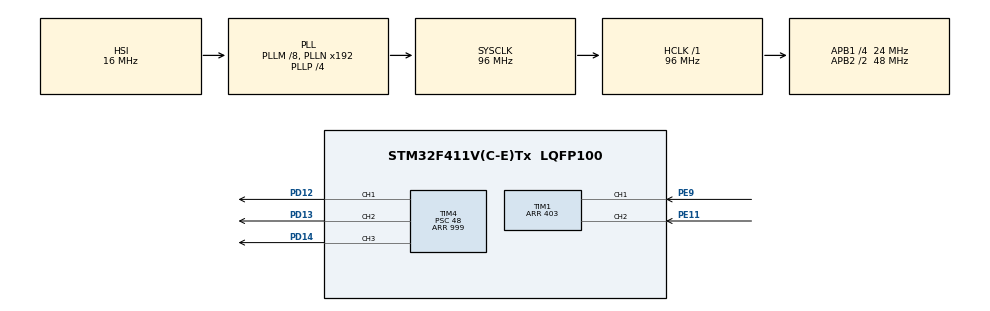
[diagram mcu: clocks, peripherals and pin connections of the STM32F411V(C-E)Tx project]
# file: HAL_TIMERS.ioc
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Mcu.Family=STM32F4
Mcu.Name=STM32F411V(C-E)Tx
Mcu.Package=LQFP100
NVIC.PriorityGroup=NVIC_PRIORITYGROUP_0
NVIC.TIM4_IRQn=true\:0\:0\:false\:false\:true\:true\:true\:true
PD12.Signal=S_TIM4_CH1
PD13.Signal=S_TIM4_CH2
PD14.Signal=S_TIM4_CH3
PD15.Signal=S_TIM4_CH4
PE11.Signal=S_TIM1_CH2
PE9.Signal=S_TIM1_CH1
ProjectManager.HeapSize=0x200
ProjectManager.StackSize=0x400
ProjectManager.TargetToolchain=STM32CubeIDE
RCC.48MHZClocksFreq_Value=48000000
RCC.AHBFreq_Value=96000000
RCC.APB1CLKDivider=RCC_HCLK_DIV4
RCC.APB1Freq_Value=24000000
RCC.APB1TimFreq_Value=48000000
RCC.APB2CLKDivider=RCC_HCLK_DIV2
RCC.APB2Freq_Value=48000000
RCC.APB2TimFreq_Value=96000000
RCC.CortexFreq_Value=96000000
RCC.HCLKFreq_Value=96000000
RCC.HSE_VALUE=8000000
RCC.HSI_VALUE=16000000
RCC.LSE_VALUE=32768
RCC.PLLI2SM=5
RCC.PLLI2SN=200
RCC.PLLM=8
RCC.PLLP=RCC_PLLP_DIV4
RCC.PLLQ=8
RCC.SYSCLKFreq_VALUE=96000000
RCC.SYSCLKSource=RCC_SYSCLKSOURCE_PLLCLK
RCC.VCOOutputFreq_Value=384000000
SH.S_TIM1_CH1.0=TIM1_CH1,Encoder_Interface
SH.S_TIM1_CH2.0=TIM1_CH2,Encoder_Interface
SH.S_TIM4_CH1.0=TIM4_CH1,PWM Generation1 CH1
SH.S_TIM4_CH2.0=TIM4_CH2,PWM Generation2 CH2
SH.S_TIM4_CH3.0=TIM4_CH3,PWM Generation3 CH3
SH.S_TIM4_CH4.0=TIM4_CH4
TIM1.AutoReloadPreload=TIM_AUTORELOAD_PRELOAD_ENABLE
TIM1.EncoderMode=TIM_ENCODERMODE_TI12
TIM1.IC1Filter=15
TIM1.IC2Filter=15
TIM1.Period=403
TIM4.AutoReloadPreload=TIM_AUTORELOAD_PRELOAD_ENABLE
TIM4.Channel-PWM\ Generation1\ CH1=TIM_CHANNEL_1
TIM4.Channel-PWM\ Generation2\ CH2=TIM_CHANNEL_2
TIM4.Channel-PWM\ Generation3\ CH3=TIM_CHANNEL_3
TIM4.OCFastMode_PWM-PWM\ Generation1\ CH1=TIM_OCFAST_ENABLE
TIM4.Period=999
TIM4.Prescaler=48
TIM4.Pulse-PWM\ Generation1\ CH1=0
VP_TIM4_VS_ClockSourceINT.Mode=Internal
board=STM32F411E-DISCO

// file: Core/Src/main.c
/* USER CODE BEGIN Header */
/**
  ******************************************************************************
  * @file           : main.c
  * @brief          : Main program body
  ******************************************************************************
  * @attention
  *
  * Copyright (c) 2022 STMicroelectronics.
  * All rights reserved.
  *
  * This software is licensed under terms that can be found in the LICENSE file
  * in the root directory of this software component.
  * If no LICENSE file comes with this software, it is provided AS-IS.
  *
  ******************************************************************************
  */
/* USER CODE END Header */
#include "main.h"

 TIM_HandleTypeDef htim1;
TIM_HandleTypeDef htim4;

/* USER CODE BEGIN PV */
 uint8_t speed=2;

    static uint8_t InterruptPrescaler = 0; // licznik przerwan
 	static uint8_t CzyRosnie = 1; // Flaga kierunku zliczania
 	volatile uint16_t pulse_count=1; // Licznik impulsow
 	volatile uint16_t positions=1; // Licznik przekreconych pozycji
/* USER CODE END PV */

void SystemClock_Config(void);
static void MX_GPIO_Init(void);
static void MX_TIM4_Init(void);
static void MX_TIM1_Init(void);
/* USER CODE BEGIN PFP */
void HAL_SYSTICK_Callback(void);
/* USER CODE END PFP */

int main(void)
{

  /* MCU Configuration--------------------------------------------------------*/

  /* Reset of all peripherals, Initializes the Flash interface and the Systick. */
  HAL_Init();

  /* Configure the system clock */
  SystemClock_Config();

  /* Initialize all configured peripherals */
  MX_GPIO_Init();
  MX_TIM4_Init();
  MX_TIM1_Init();
  /* USER CODE BEGIN 2 */

  HAL_TIM_PWM_Start(&htim4, TIM_CHANNEL_1);
  HAL_TIM_PWM_Start(&htim4, TIM_CHANNEL_2);
  HAL_TIM_PWM_Start(&htim4, TIM_CHANNEL_3);
  HAL_TIM_PWM_Start(&htim4, TIM_CHANNEL_4);

  HAL_TIM_Encoder_Start(&htim1, TIM_CHANNEL_ALL);

  __HAL_TIM_SET_COMPARE(&htim4,TIM_CHANNEL_1,100);
  __HAL_TIM_SET_COMPARE(&htim4,TIM_CHANNEL_2,400);
  __HAL_TIM_SET_COMPARE(&htim4,TIM_CHANNEL_3,700);
  __HAL_TIM_SET_COMPARE(&htim4,TIM_CHANNEL_4,900);
  /* USER CODE END 2 */

  /* Infinite loop */
  while (1)
  {

    /* USER CODE BEGIN 3 */
	    pulse_count =  TIM1->CNT ; // przepisanie wartosci z rejestru timera
	  	positions = (pulse_count/4)*80; // zeskalowanie impulsow do liczby stabilnych pozycji walu enkodera
	  	if(positions>1000) TIM1->CNT = 0;

	    __HAL_TIM_SET_COMPARE(&htim4,TIM_CHANNEL_1,positions);
	    __HAL_TIM_SET_COMPARE(&htim4,TIM_CHANNEL_2,positions);
	    __HAL_TIM_SET_COMPARE(&htim4,TIM_CHANNEL_3,positions);
	    __HAL_TIM_SET_COMPARE(&htim4,TIM_CHANNEL_4,positions);
//	  	++InterruptPrescaler; // Inkrementacja numeru przerwania
//
//	  	// Jezeli wywolalo sie 40 przerwanie z rzedu
//	  	if (InterruptPrescaler == 40) {
//	  		InterruptPrescaler = 0; // wyzeruj licznik przerwan
//
//	  		if (Duty == 100) // Jezeli wypelnienie jest rowne 100
//	  			CzyRosnie = 0; // Zmien kierunek zliczania w dol
//
//	  		else if (Duty == 0) // Jezeli wypelnienie rowne 0
//	  			CzyRosnie = 1; // Zmien kierunek zliczania w gore
//
//	  		if (CzyRosnie) // Jezeli zliczamy w gore
//	  			++Duty; // Inkrementuj wartosc wypelnienia
//	  		else//Jezeli zliczamy w dol
//	  			--Duty; // Dekrementuj wartosc wypelnienia
//	  	}
//	  	TIM4->CCR3 = Duty;
//		for(uint16_t i =0;i<900;i+=speed)
//			{
//			 __HAL_TIM_SET_COMPARE(&htim4,TIM_CHANNEL_1,i);
//			 HAL_Delay(1);
//
//			}
//		for(uint16_t j =0;j<900;j+=speed)
//				{
//				 __HAL_TIM_SET_COMPARE(&htim4,TIM_CHANNEL_2,j);
//				 HAL_Delay(1);
//	 			}
//		for(uint16_t k =0;k<900;k+=speed)
//				{
//				 __HAL_TIM_SET_COMPARE(&htim4,TIM_CHANNEL_3,k);
//				 HAL_Delay(1);
//
//				}
//		for(uint16_t l =0;l<900;l+=speed)
//				{
//				 __HAL_TIM_SET_COMPARE(&htim4,TIM_CHANNEL_4,l);
//				 HAL_Delay(1);
//
//				}
  }
  /* USER CODE END 3 */
}

void SystemClock_Config(void)
{
  RCC_OscInitTypeDef RCC_OscInitStruct = {0};
  RCC_ClkInitTypeDef RCC_ClkInitStruct = {0};

  /** Configure the main internal regulator output voltage
  */
  __HAL_RCC_PWR_CLK_ENABLE();
  __HAL_PWR_VOLTAGESCALING_CONFIG(PWR_REGULATOR_VOLTAGE_SCALE1);

  /** Initializes the RCC Oscillators according to the specified parameters
  * in the RCC_OscInitTypeDef structure.
  */
  RCC_OscInitStruct.OscillatorType = RCC_OSCILLATORTYPE_HSI;
  RCC_OscInitStruct.HSIState = RCC_HSI_ON;
  RCC_OscInitStruct.HSICalibrationValue = RCC_HSICALIBRATION_DEFAULT;
  RCC_OscInitStruct.PLL.PLLState = RCC_PLL_ON;
  RCC_OscInitStruct.PLL.PLLSource = RCC_PLLSOURCE_HSI;
  RCC_OscInitStruct.PLL.PLLM = 8;
  RCC_OscInitStruct.PLL.PLLN = 192;
  RCC_OscInitStruct.PLL.PLLP = RCC_PLLP_DIV4;
  RCC_OscInitStruct.PLL.PLLQ = 8;
  if (HAL_RCC_OscConfig(&RCC_OscInitStruct) != HAL_OK)
  {
    Error_Handler();
  }

  /** Initializes the CPU, AHB and APB buses clocks
  */
  RCC_ClkInitStruct.ClockType = RCC_CLOCKTYPE_HCLK|RCC_CLOCKTYPE_SYSCLK
                              |RCC_CLOCKTYPE_PCLK1|RCC_CLOCKTYPE_PCLK2;
  RCC_ClkInitStruct.SYSCLKSource = RCC_SYSCLKSOURCE_PLLCLK;
  RCC_ClkInitStruct.AHBCLKDivider = RCC_SYSCLK_DIV1;
  RCC_ClkInitStruct.APB1CLKDivider = RCC_HCLK_DIV4;
  RCC_ClkInitStruct.APB2CLKDivider = RCC_HCLK_DIV2;

  if (HAL_RCC_ClockConfig(&RCC_ClkInitStruct, FLASH_LATENCY_3) != HAL_OK)
  {
    Error_Handler();
  }
}

static void MX_TIM1_Init(void)
{

  TIM_Encoder_InitTypeDef sConfig = {0};
  TIM_MasterConfigTypeDef sMasterConfig = {0};

  htim1.Instance = TIM1;
  htim1.Init.Prescaler = 2;
  htim1.Init.CounterMode = TIM_COUNTERMODE_UP;
  htim1.Init.Period = 403;
  htim1.Init.ClockDivision = TIM_CLOCKDIVISION_DIV1;
  htim1.Init.RepetitionCounter = 0;
  htim1.Init.AutoReloadPreload = TIM_AUTORELOAD_PRELOAD_ENABLE;
  sConfig.EncoderMode = TIM_ENCODERMODE_TI12;
  sConfig.IC1Polarity = TIM_ICPOLARITY_RISING;
  sConfig.IC1Selection = TIM_ICSELECTION_DIRECTTI;
  sConfig.IC1Prescaler = TIM_ICPSC_DIV1;
  sConfig.IC1Filter = 15;
  sConfig.IC2Polarity = TIM_ICPOLARITY_RISING;
  sConfig.IC2Selection = TIM_ICSELECTION_DIRECTTI;
  sConfig.IC2Prescaler = TIM_ICPSC_DIV1;
  sConfig.IC2Filter = 15;
  if (HAL_TIM_Encoder_Init(&htim1, &sConfig) != HAL_OK)
  {
    Error_Handler();
  }
  sMasterConfig.MasterOutputTrigger = TIM_TRGO_RESET;
  sMasterConfig.MasterSlaveMode = TIM_MASTERSLAVEMODE_DISABLE;
  if (HAL_TIMEx_MasterConfigSynchronization(&htim1, &sMasterConfig) != HAL_OK)
  {
    Error_Handler();
  }

}

static void MX_TIM4_Init(void)
{

  TIM_ClockConfigTypeDef sClockSourceConfig = {0};
  TIM_MasterConfigTypeDef sMasterConfig = {0};
  TIM_OC_InitTypeDef sConfigOC = {0};

  htim4.Instance = TIM4;
  htim4.Init.Prescaler = 48;
  htim4.Init.CounterMode = TIM_COUNTERMODE_UP;
  htim4.Init.Period = 999;
  htim4.Init.ClockDivision = TIM_CLOCKDIVISION_DIV1;
  htim4.Init.AutoReloadPreload = TIM_AUTORELOAD_PRELOAD_ENABLE;
  if (HAL_TIM_Base_Init(&htim4) != HAL_OK)
  {
    Error_Handler();
  }
  sClockSourceConfig.ClockSource = TIM_CLOCKSOURCE_INTERNAL;
  if (HAL_TIM_ConfigClockSource(&htim4, &sClockSourceConfig) != HAL_OK)
  {
    Error_Handler();
  }
  if (HAL_TIM_PWM_Init(&htim4) != HAL_OK)
  {
    Error_Handler();
  }
  sMasterConfig.MasterOutputTrigger = TIM_TRGO_RESET;
  sMasterConfig.MasterSlaveMode = TIM_MASTERSLAVEMODE_DISABLE;
  if (HAL_TIMEx_MasterConfigSynchronization(&htim4, &sMasterConfig) != HAL_OK)
  {
    Error_Handler();
  }
  sConfigOC.OCMode = TIM_OCMODE_PWM1;
  sConfigOC.Pulse = 0;
  sConfigOC.OCPolarity = TIM_OCPOLARITY_HIGH;
  sConfigOC.OCFastMode = TIM_OCFAST_ENABLE;
  if (HAL_TIM_PWM_ConfigChannel(&htim4, &sConfigOC, TIM_CHANNEL_1) != HAL_OK)
  {
    Error_Handler();
  }
  sConfigOC.OCFastMode = TIM_OCFAST_DISABLE;
  if (HAL_TIM_PWM_ConfigChannel(&htim4, &sConfigOC, TIM_CHANNEL_2) != HAL_OK)
  {
    Error_Handler();
  }
  if (HAL_TIM_PWM_ConfigChannel(&htim4, &sConfigOC, TIM_CHANNEL_3) != HAL_OK)
  {
    Error_Handler();
  }
  if (HAL_TIM_PWM_ConfigChannel(&htim4, &sConfigOC, TIM_CHANNEL_4) != HAL_OK)
   {
     Error_Handler();
   }
  HAL_TIM_MspPostInit(&htim4);

}

static void MX_GPIO_Init(void)
{

  /* GPIO Ports Clock Enable */
  __HAL_RCC_GPIOE_CLK_ENABLE();
  __HAL_RCC_GPIOD_CLK_ENABLE();

}

/* USER CODE BEGIN 4 */
void HAL_SYSTICK_Callback(void)
{

}
/* USER CODE END 4 */

void Error_Handler(void)
{
  __disable_irq();
  while (1)
  {
  }
}
